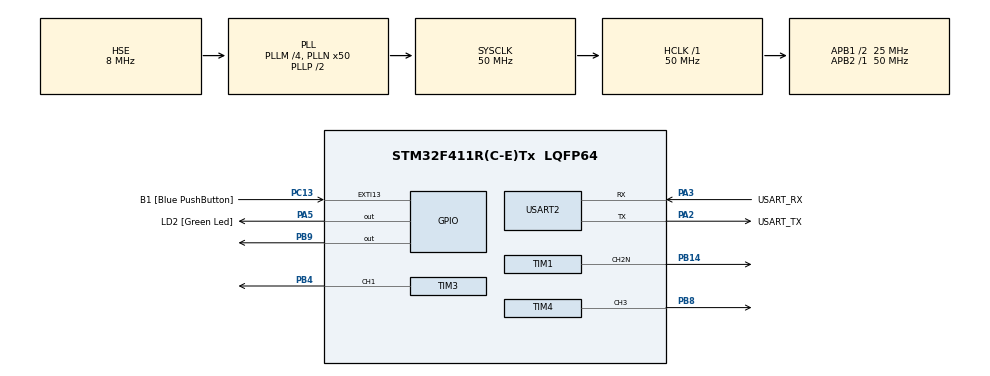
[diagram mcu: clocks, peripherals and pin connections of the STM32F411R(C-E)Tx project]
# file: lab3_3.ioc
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Mcu.Family=STM32F4
Mcu.Name=STM32F411R(C-E)Tx
Mcu.Package=LQFP64
NVIC.PriorityGroup=NVIC_PRIORITYGROUP_0
NVIC.TIM1_BRK_TIM9_IRQn=true\:0\:0\:false\:false\:true\:true\:true\:true
NVIC.TIM1_CC_IRQn=true\:0\:0\:false\:false\:true\:true\:true\:true
NVIC.TIM1_TRG_COM_TIM11_IRQn=true\:0\:0\:false\:false\:true\:true\:true\:true
NVIC.TIM1_UP_TIM10_IRQn=true\:0\:0\:false\:false\:true\:true\:true\:true
NVIC.TIM3_IRQn=true\:0\:0\:false\:false\:true\:true\:true\:true
NVIC.TIM4_IRQn=true\:0\:0\:false\:false\:true\:true\:true\:true
NVIC.USART2_IRQn=true\:0\:0\:false\:false\:true\:true\:true\:true
PA13.GPIO_Label=TMS
PA13.Mode=Serial_Wire
PA13.Signal=SYS_JTMS-SWDIO
PA14.GPIO_Label=TCK
PA14.Mode=Serial_Wire
PA14.Signal=SYS_JTCK-SWCLK
PA2.GPIO_Label=USART_TX
PA2.Mode=Asynchronous
PA2.Signal=USART2_TX
PA3.GPIO_Label=USART_RX
PA3.Mode=Asynchronous
PA3.Signal=USART2_RX
PA5.GPIO_Label=LD2 [Green Led]
PA5.Signal=GPIO_Output
PB14.Mode=PWM Generation2 CH2N
PB14.Signal=TIM1_CH2N
PB3.GPIO_Label=SWO
PB3.Signal=SYS_JTDO-SWO
PB4.Signal=S_TIM3_CH1
PB8.Signal=S_TIM4_CH3
PB9.Signal=GPIO_Output
PC13-ANTI_TAMP.GPIO_Label=B1 [Blue PushButton]
PC13-ANTI_TAMP.GPIO_ModeDefaultEXTI=GPIO_MODE_IT_FALLING
PC13-ANTI_TAMP.Signal=GPXTI13
PC14-OSC32_IN.Mode=LSE-External-Oscillator
PC14-OSC32_IN.Signal=RCC_OSC32_IN
PC15-OSC32_OUT.Mode=LSE-External-Oscillator
PC15-OSC32_OUT.Signal=RCC_OSC32_OUT
PH0\ -\ OSC_IN.Mode=HSE-External-Clock-Source
PH0\ -\ OSC_IN.Signal=RCC_OSC_IN
PH1\ -\ OSC_OUT.Mode=HSE-External-Clock-Source
PH1\ -\ OSC_OUT.Signal=RCC_OSC_OUT
ProjectManager.HeapSize=0x200
ProjectManager.StackSize=0x400
ProjectManager.TargetToolchain=STM32CubeIDE
RCC.48MHZClocksFreq_Value=25000000
RCC.AHBFreq_Value=50000000
RCC.APB1CLKDivider=RCC_HCLK_DIV2
RCC.APB1Freq_Value=25000000
RCC.APB1TimFreq_Value=50000000
RCC.APB2Freq_Value=50000000
RCC.APB2TimFreq_Value=50000000
RCC.CortexFreq_Value=50000000
RCC.FLatency-AdvancedSettings=FLASH_LATENCY_1
RCC.HCLKFreq_Value=50000000
RCC.HSE_VALUE=8000000
RCC.HSI_VALUE=16000000
RCC.PLLM=4
RCC.PLLN=50
RCC.PLLSourceVirtual=RCC_PLLSOURCE_HSE
RCC.SYSCLKFreq_VALUE=50000000
RCC.SYSCLKSource=RCC_SYSCLKSOURCE_PLLCLK
RCC.VCOOutputFreq_Value=100000000
SH.S_TIM3_CH1.0=TIM3_CH1,PWM Generation1 CH1
SH.S_TIM4_CH3.0=TIM4_CH3,PWM Generation3 CH3
TIM1.AutoReloadPreload=TIM_AUTORELOAD_PRELOAD_ENABLE
TIM1.Channel-PWM\ Generation2\ CH2N=TIM_CHANNEL_2
TIM1.Period=65444
TIM1.Prescaler=381
TIM1.Pulse-PWM\ Generation2\ CH2N=32768
TIM3.AutoReloadPreload=TIM_AUTORELOAD_PRELOAD_ENABLE
TIM3.Channel-PWM\ Generation1\ CH1=TIM_CHANNEL_1
TIM3.Period=65399
TIM3.Prescaler=374
TIM3.Pulse-PWM\ Generation1\ CH1=32768
TIM4.AutoReloadPreload=TIM_AUTORELOAD_PRELOAD_ENABLE
TIM4.Channel-PWM\ Generation3\ CH3=TIM_CHANNEL_3
TIM4.Period=65523
TIM4.Prescaler=762
TIM4.Pulse-PWM\ Generation3\ CH3=32768
USART2.VirtualMode=VM_ASYNC
VP_TIM1_VS_ClockSourceINT.Mode=Internal
VP_TIM3_VS_ClockSourceINT.Mode=Internal
VP_TIM4_VS_ClockSourceINT.Mode=Internal
board=NUCLEO-F411RE

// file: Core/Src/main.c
/* USER CODE BEGIN Header */
/**
  ******************************************************************************
  * @file           : main.c
  * @brief          : Main program body
  ******************************************************************************
  * @attention
  *
  * Copyright (c) 2023 STMicroelectronics.
  * All rights reserved.
  *
  * This software is licensed under terms that can be found in the LICENSE file
  * in the root directory of this software component.
  * If no LICENSE file comes with this software, it is provided AS-IS.
  *
  ******************************************************************************
  */
/* USER CODE END Header */
#include "main.h"

/* USER CODE BEGIN Includes */
#include <stdio.h>
#include <stdlib.h>
/* USER CODE END Includes */

TIM_HandleTypeDef htim1;
TIM_HandleTypeDef htim3;
TIM_HandleTypeDef htim4;

UART_HandleTypeDef huart2;

/* USER CODE BEGIN PV */
uint32_t counter_red = 0;
uint32_t counter_green = 0;
/* USER CODE END PV */

void SystemClock_Config(void);

static void MX_GPIO_Init(void);

static void MX_USART2_UART_Init(void);

static void MX_TIM4_Init(void);

static void MX_TIM1_Init(void);

static void MX_TIM3_Init(void);

int main(void) {

    /* MCU Configuration--------------------------------------------------------*/

    /* Reset of all peripherals, Initializes the Flash interface and the Systick. */
    HAL_Init();

    /* Configure the system clock */
    SystemClock_Config();

    /* Initialize all configured peripherals */
    MX_GPIO_Init();
    MX_USART2_UART_Init();
    MX_TIM4_Init();
    MX_TIM1_Init();
    MX_TIM3_Init();
    /* USER CODE BEGIN 2 */
    HAL_TIM_PWM_Start_IT(&htim1, TIM_CHANNEL_2); // 500.0 ms
    HAL_TIM_PWM_Start_IT(&htim3, TIM_CHANNEL_1); // 490.5 ms
    HAL_TIM_PWM_Start_IT(&htim4, TIM_CHANNEL_3); // 999.9 ms
    /* USER CODE END 2 */

    /* Infinite loop */
    while (1) {

    }
}

void SystemClock_Config(void) {
    RCC_OscInitTypeDef RCC_OscInitStruct = {0};
    RCC_ClkInitTypeDef RCC_ClkInitStruct = {0};

    /** Configure the main internal regulator output voltage
    */
    __HAL_RCC_PWR_CLK_ENABLE();
    __HAL_PWR_VOLTAGESCALING_CONFIG(PWR_REGULATOR_VOLTAGE_SCALE1);

    /** Initializes the RCC Oscillators according to the specified parameters
    * in the RCC_OscInitTypeDef structure.
    */
    RCC_OscInitStruct.OscillatorType = RCC_OSCILLATORTYPE_HSE;
    RCC_OscInitStruct.HSEState = RCC_HSE_BYPASS;
    RCC_OscInitStruct.PLL.PLLState = RCC_PLL_ON;
    RCC_OscInitStruct.PLL.PLLSource = RCC_PLLSOURCE_HSE;
    RCC_OscInitStruct.PLL.PLLM = 4;
    RCC_OscInitStruct.PLL.PLLN = 50;
    RCC_OscInitStruct.PLL.PLLP = RCC_PLLP_DIV2;
    RCC_OscInitStruct.PLL.PLLQ = 4;
    if (HAL_RCC_OscConfig(&RCC_OscInitStruct) != HAL_OK) {
        Error_Handler();
    }

    /** Initializes the CPU, AHB and APB buses clocks
    */
    RCC_ClkInitStruct.ClockType = RCC_CLOCKTYPE_HCLK | RCC_CLOCKTYPE_SYSCLK
                                  | RCC_CLOCKTYPE_PCLK1 | RCC_CLOCKTYPE_PCLK2;
    RCC_ClkInitStruct.SYSCLKSource = RCC_SYSCLKSOURCE_PLLCLK;
    RCC_ClkInitStruct.AHBCLKDivider = RCC_SYSCLK_DIV1;
    RCC_ClkInitStruct.APB1CLKDivider = RCC_HCLK_DIV2;
    RCC_ClkInitStruct.APB2CLKDivider = RCC_HCLK_DIV1;

    if (HAL_RCC_ClockConfig(&RCC_ClkInitStruct, FLASH_LATENCY_1) != HAL_OK) {
        Error_Handler();
    }
}

static void MX_TIM1_Init(void) {

    TIM_ClockConfigTypeDef sClockSourceConfig = {0};
    TIM_MasterConfigTypeDef sMasterConfig = {0};
    TIM_OC_InitTypeDef sConfigOC = {0};
    TIM_BreakDeadTimeConfigTypeDef sBreakDeadTimeConfig = {0};

    htim1.Instance = TIM1;
    htim1.Init.Prescaler = 381;
    htim1.Init.CounterMode = TIM_COUNTERMODE_UP;
    htim1.Init.Period = 65444;
    htim1.Init.ClockDivision = TIM_CLOCKDIVISION_DIV1;
    htim1.Init.RepetitionCounter = 0;
    htim1.Init.AutoReloadPreload = TIM_AUTORELOAD_PRELOAD_ENABLE;
    if (HAL_TIM_Base_Init(&htim1) != HAL_OK) {
        Error_Handler();
    }
    sClockSourceConfig.ClockSource = TIM_CLOCKSOURCE_INTERNAL;
    if (HAL_TIM_ConfigClockSource(&htim1, &sClockSourceConfig) != HAL_OK) {
        Error_Handler();
    }
    if (HAL_TIM_PWM_Init(&htim1) != HAL_OK) {
        Error_Handler();
    }
    sMasterConfig.MasterOutputTrigger = TIM_TRGO_RESET;
    sMasterConfig.MasterSlaveMode = TIM_MASTERSLAVEMODE_DISABLE;
    if (HAL_TIMEx_MasterConfigSynchronization(&htim1, &sMasterConfig) != HAL_OK) {
        Error_Handler();
    }
    sConfigOC.OCMode = TIM_OCMODE_PWM1;
    sConfigOC.Pulse = 32768;
    sConfigOC.OCPolarity = TIM_OCPOLARITY_HIGH;
    sConfigOC.OCNPolarity = TIM_OCNPOLARITY_HIGH;
    sConfigOC.OCFastMode = TIM_OCFAST_DISABLE;
    sConfigOC.OCIdleState = TIM_OCIDLESTATE_RESET;
    sConfigOC.OCNIdleState = TIM_OCNIDLESTATE_RESET;
    if (HAL_TIM_PWM_ConfigChannel(&htim1, &sConfigOC, TIM_CHANNEL_2) != HAL_OK) {
        Error_Handler();
    }
    sBreakDeadTimeConfig.OffStateRunMode = TIM_OSSR_DISABLE;
    sBreakDeadTimeConfig.OffStateIDLEMode = TIM_OSSI_DISABLE;
    sBreakDeadTimeConfig.LockLevel = TIM_LOCKLEVEL_OFF;
    sBreakDeadTimeConfig.DeadTime = 0;
    sBreakDeadTimeConfig.BreakState = TIM_BREAK_DISABLE;
    sBreakDeadTimeConfig.BreakPolarity = TIM_BREAKPOLARITY_HIGH;
    sBreakDeadTimeConfig.AutomaticOutput = TIM_AUTOMATICOUTPUT_DISABLE;
    if (HAL_TIMEx_ConfigBreakDeadTime(&htim1, &sBreakDeadTimeConfig) != HAL_OK) {
        Error_Handler();
    }
    HAL_TIM_MspPostInit(&htim1);

}

static void MX_TIM3_Init(void) {

    TIM_ClockConfigTypeDef sClockSourceConfig = {0};
    TIM_MasterConfigTypeDef sMasterConfig = {0};
    TIM_OC_InitTypeDef sConfigOC = {0};

    htim3.Instance = TIM3;
    htim3.Init.Prescaler = 374;
    htim3.Init.CounterMode = TIM_COUNTERMODE_UP;
    htim3.Init.Period = 65399;
    htim3.Init.ClockDivision = TIM_CLOCKDIVISION_DIV1;
    htim3.Init.AutoReloadPreload = TIM_AUTORELOAD_PRELOAD_ENABLE;
    if (HAL_TIM_Base_Init(&htim3) != HAL_OK) {
        Error_Handler();
    }
    sClockSourceConfig.ClockSource = TIM_CLOCKSOURCE_INTERNAL;
    if (HAL_TIM_ConfigClockSource(&htim3, &sClockSourceConfig) != HAL_OK) {
        Error_Handler();
    }
    if (HAL_TIM_PWM_Init(&htim3) != HAL_OK) {
        Error_Handler();
    }
    sMasterConfig.MasterOutputTrigger = TIM_TRGO_RESET;
    sMasterConfig.MasterSlaveMode = TIM_MASTERSLAVEMODE_DISABLE;
    if (HAL_TIMEx_MasterConfigSynchronization(&htim3, &sMasterConfig) != HAL_OK) {
        Error_Handler();
    }
    sConfigOC.OCMode = TIM_OCMODE_PWM1;
    sConfigOC.Pulse = 32768;
    sConfigOC.OCPolarity = TIM_OCPOLARITY_HIGH;
    sConfigOC.OCFastMode = TIM_OCFAST_DISABLE;
    if (HAL_TIM_PWM_ConfigChannel(&htim3, &sConfigOC, TIM_CHANNEL_1) != HAL_OK) {
        Error_Handler();
    }
    HAL_TIM_MspPostInit(&htim3);

}

static void MX_TIM4_Init(void) {

    TIM_ClockConfigTypeDef sClockSourceConfig = {0};
    TIM_MasterConfigTypeDef sMasterConfig = {0};
    TIM_OC_InitTypeDef sConfigOC = {0};

    htim4.Instance = TIM4;
    htim4.Init.Prescaler = 762;
    htim4.Init.CounterMode = TIM_COUNTERMODE_UP;
    htim4.Init.Period = 65523;
    htim4.Init.ClockDivision = TIM_CLOCKDIVISION_DIV1;
    htim4.Init.AutoReloadPreload = TIM_AUTORELOAD_PRELOAD_ENABLE;
    if (HAL_TIM_Base_Init(&htim4) != HAL_OK) {
        Error_Handler();
    }
    sClockSourceConfig.ClockSource = TIM_CLOCKSOURCE_INTERNAL;
    if (HAL_TIM_ConfigClockSource(&htim4, &sClockSourceConfig) != HAL_OK) {
        Error_Handler();
    }
    if (HAL_TIM_PWM_Init(&htim4) != HAL_OK) {
        Error_Handler();
    }
    sMasterConfig.MasterOutputTrigger = TIM_TRGO_RESET;
    sMasterConfig.MasterSlaveMode = TIM_MASTERSLAVEMODE_DISABLE;
    if (HAL_TIMEx_MasterConfigSynchronization(&htim4, &sMasterConfig) != HAL_OK) {
        Error_Handler();
    }
    sConfigOC.OCMode = TIM_OCMODE_PWM1;
    sConfigOC.Pulse = 32768;
    sConfigOC.OCPolarity = TIM_OCPOLARITY_HIGH;
    sConfigOC.OCFastMode = TIM_OCFAST_DISABLE;
    if (HAL_TIM_PWM_ConfigChannel(&htim4, &sConfigOC, TIM_CHANNEL_3) != HAL_OK) {
        Error_Handler();
    }
    HAL_TIM_MspPostInit(&htim4);

}

static void MX_USART2_UART_Init(void) {

    huart2.Instance = USART2;
    huart2.Init.BaudRate = 115200;
    huart2.Init.WordLength = UART_WORDLENGTH_8B;
    huart2.Init.StopBits = UART_STOPBITS_1;
    huart2.Init.Parity = UART_PARITY_NONE;
    huart2.Init.Mode = UART_MODE_TX_RX;
    huart2.Init.HwFlowCtl = UART_HWCONTROL_NONE;
    huart2.Init.OverSampling = UART_OVERSAMPLING_16;
    if (HAL_UART_Init(&huart2) != HAL_OK) {
        Error_Handler();
    }

}

static void MX_GPIO_Init(void) {
    GPIO_InitTypeDef GPIO_InitStruct = {0};

    /* GPIO Ports Clock Enable */
    __HAL_RCC_GPIOC_CLK_ENABLE();
    __HAL_RCC_GPIOH_CLK_ENABLE();
    __HAL_RCC_GPIOA_CLK_ENABLE();
    __HAL_RCC_GPIOB_CLK_ENABLE();

    /*Configure GPIO pin Output Level */
    HAL_GPIO_WritePin(LD2_GPIO_Port, LD2_Pin, GPIO_PIN_RESET);

    /*Configure GPIO pin Output Level */
    HAL_GPIO_WritePin(GPIOB, GPIO_PIN_9, GPIO_PIN_RESET);

    /*Configure GPIO pin : B1_Pin */
    GPIO_InitStruct.Pin = B1_Pin;
    GPIO_InitStruct.Mode = GPIO_MODE_IT_FALLING;
    GPIO_InitStruct.Pull = GPIO_NOPULL;
    HAL_GPIO_Init(B1_GPIO_Port, &GPIO_InitStruct);

    /*Configure GPIO pin : LD2_Pin */
    GPIO_InitStruct.Pin = LD2_Pin;
    GPIO_InitStruct.Mode = GPIO_MODE_OUTPUT_PP;
    GPIO_InitStruct.Pull = GPIO_NOPULL;
    GPIO_InitStruct.Speed = GPIO_SPEED_FREQ_LOW;
    HAL_GPIO_Init(LD2_GPIO_Port, &GPIO_InitStruct);

    /*Configure GPIO pin : PB9 */
    GPIO_InitStruct.Pin = GPIO_PIN_9;
    GPIO_InitStruct.Mode = GPIO_MODE_OUTPUT_PP;
    GPIO_InitStruct.Pull = GPIO_NOPULL;
    GPIO_InitStruct.Speed = GPIO_SPEED_FREQ_LOW;
    HAL_GPIO_Init(GPIOB, &GPIO_InitStruct);

}

/* USER CODE BEGIN 4 */
void HAL_TIM_PWM_PulseFinishedCallback(TIM_HandleTypeDef *htim) {
    if (htim->Instance == TIM1) {
        HAL_GPIO_TogglePin(GPIOA, GPIO_PIN_5);
        ++counter_green;
    }
    if (htim->Instance == TIM3) {
        HAL_GPIO_TogglePin(GPIOB, GPIO_PIN_9);
        ++counter_red;
    }
    if (htim->Instance == TIM4) {
        uint8_t size = snprintf(NULL, 0, "Green blinks %lu times. Red blinks %lu times.\r\n",
                                counter_green, counter_red);
        char *buff = malloc(size);
        sprintf(buff, "Green blinks %lu times. Red blinks %lu times.\r\n", counter_green, counter_red);
        HAL_UART_Transmit_IT(&huart2, (const uint8_t *) buff, size);
    }
}
/* USER CODE END 4 */

void Error_Handler(void) {
    __disable_irq();
    while (1) {
    }
}
